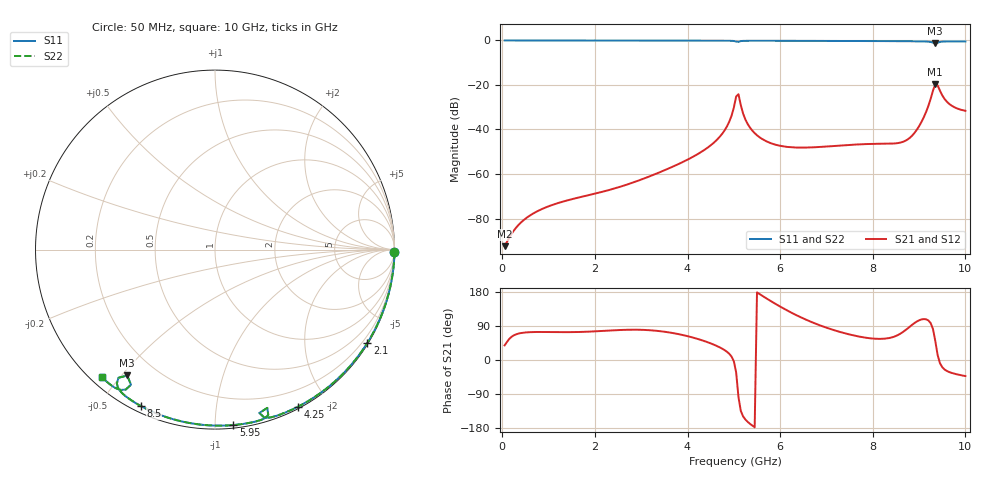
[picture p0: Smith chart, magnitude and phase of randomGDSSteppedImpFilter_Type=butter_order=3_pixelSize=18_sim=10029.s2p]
! freq	dB(S11)	phase(S11)	dB(S12)	phase(S12)
!  dB(S21)	phase(S21)	dB(S22)	phase(S22)
!S-par simulation data
#  GHz  S  DB  R 50
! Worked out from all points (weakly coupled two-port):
!   200 points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, 50 MHz to 10 GHz, reference 50 ohm
!   highest |S21| = -19.62 dB at 9.35 GHz (marker M1); lowest = -92.4 dB at 50 MHz (marker M2)
!   lowest |S11| = -1.4 dB at 9.35 GHz (marker M3), VSWR 12.80, Z = 4.96 - j25.9 ohm
!   |S11| at or under -10 dB: nowhere
!   |S22| runs from -1.4 to 0.0 dB; largest |S21 - S12| = 0
!   S11 on the Smith chart (normalised r, x): 50 MHz: open; 2.1 GHz: 0.03, -3.54; 4.25 GHz: 0.02, -1.66; 5.95 GHz: 0.02, -1.11; 8.5 GHz: 0.03, -0.63; 10 GHz: 0.03, -0.45
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0.05  -0.00 -0.8  -92.42 38.6  -92.42 38.6  -0.00 -0.8
0.5  -0.01 -7.6  -80.07 72.6  -80.07 72.6  -0.01 -7.6
1.75  -0.03 -26.4  -70.06 74.2  -70.06 74.2  -0.03 -26.4
2.1  -0.04 -31.5  -68.31 76.2  -68.31 76.2  -0.04 -31.5
3.4  -0.07 -50.2  -59.22 76.2  -59.22 76.2  -0.07 -50.2
4.25  -0.09 -62.1  -50.68 54.5  -50.68 54.5  -0.09 -62.1
4.8  -0.11 -69.9  -40.41 26.1  -40.41 26.1  -0.11 -69.9
4.95  -0.15 -72.5  -33.86 9.1  -33.86 9.1  -0.15 -72.5
5.05  -0.51 -74.8  -25.15 -32.8  -25.15 -32.8  -0.51 -74.8
5.1  -0.64 -71.7  -24.16 -97.8  -24.16 -97.8  -0.64 -71.7
5.2  -0.19 -73.3  -32.85 -148.8  -32.85 -148.8  -0.19 -73.3
5.4  -0.14 -76.7  -40.53 -173.2  -40.53 -173.2  -0.14 -76.7
5.95  -0.15 -84.0  -47.11 144.5  -47.11 144.5  -0.15 -84.0
6.7  -0.18 -93.5  -48.03 99.0  -48.03 99.0  -0.18 -93.5
8.35  -0.30 -113.6  -46.38 57.9  -46.38 57.9  -0.30 -113.6
8.5  -0.31 -115.4  -46.22 63.4  -46.22 63.4  -0.31 -115.4
8.75  -0.34 -118.5  -44.52 83.0  -44.52 83.0  -0.34 -118.5
8.95  -0.38 -121.1  -40.14 101.5  -40.14 101.5  -0.38 -121.1
9.15  -0.48 -124.2  -32.19 107.4  -32.19 107.4  -0.48 -124.2
9.35  -1.36 -124.9  -19.62 50.2  -19.62 50.2  -1.36 -124.9
9.65  -0.43 -126.7  -28.49 -31.8  -28.49 -31.8  -0.43 -126.7
10  -0.44 -131.5  -31.62 -42.4  -31.62 -42.4  -0.44 -131.5
